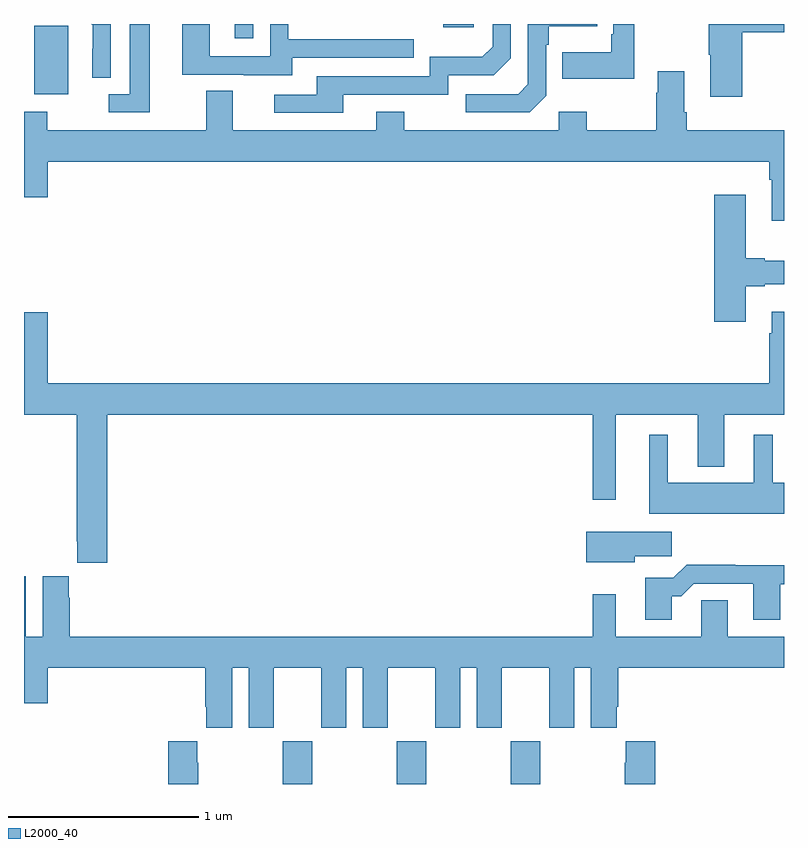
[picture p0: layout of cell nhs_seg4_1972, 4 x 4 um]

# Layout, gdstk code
import gdstk
lib = gdstk.Library(unit=1e-6, precision=1e-09)
def R(c, l, rs):  # rectangles x0, y0, x1, y1
    for r in rs: c.add(gdstk.rectangle(r[:2], r[2:], *l))
def A(c, l, x, y, w, h, nx, ny, dx, dy):  # array of equal rectangles
    R(c, l, [(x+i*dx, y+j*dy, x+i*dx+w, y+j*dy+h) for i in range(nx) for j in range(ny)])
def P(c, l, *ps):  # polygons
    for p in ps: c.add(gdstk.Polygon(p, *l))
L2000_40 = (2000, 40)

nhs_seg4_1972 = lib.new_cell('nhs_seg4_1972')
A(nhs_seg4_1972, L2000_40, 214.363, 770.9, 0.155, 0.224, 3, 1, 0.6, 0)
R(nhs_seg4_1972, L2000_40, [(213.053,774.53,213.232,774.891), (214.109,774.825,214.206,774.9), (215.207,774.884,215.368,774.9)])
P(nhs_seg4_1972, L2000_40, [(214.411,774.723),(215.051,774.723),(215.051,774.819),(214.392,774.819),(214.392,774.9),(214.296,774.9),(214.296,774.729),(213.978,774.729),(213.978,774.9),(213.833,774.9),(213.833,774.633),(214.157,774.633),(214.157,774.629),(214.411,774.629)],
  [(216.211,774.9),(216.102,774.9),(216.102,774.847),(216.09,774.847),(216.09,774.751),(215.833,774.751),(215.833,774.611),(216.211,774.611)],
  [(213.661,774.9),(213.557,774.9),(213.557,774.531),(213.447,774.531),(213.447,774.435),(213.661,774.435)],
  [(213.456,774.9),(213.355,774.9),(213.362,774.893),(213.362,774.77),(213.36,774.77),(213.36,774.616),(213.456,774.616)],
  [(215.748,774.522),(215.748,774.791),(215.761,774.791),(215.761,774.887),(216.017,774.887),(216.017,774.9),(215.652,774.9),(215.652,774.582),(215.601,774.531),(215.325,774.531),(215.325,774.435),(215.661,774.435)],
  [(216.779,774.856),(217,774.856),(217,774.9),(216.604,774.9),(216.604,774.739),(216.611,774.739),(216.611,774.516),(216.779,774.516)],
  [(214.681,774.528),(215.232,774.528),(215.232,774.63),(215.472,774.63),(215.562,774.72),(215.562,774.9),(215.466,774.9),(215.466,774.78),(215.413,774.727),(215.136,774.727),(215.136,774.624),(214.541,774.624),(214.541,774.528),(214.317,774.528),(214.317,774.432),(214.681,774.432)],
  [(217,774.34),(216.488,774.34),(216.488,774.436),(216.475,774.436),(216.475,774.652),(216.335,774.652),(216.335,774.539),(216.328,774.539),(216.328,774.34),(215.961,774.34),(215.961,774.439),(215.814,774.439),(215.814,774.34),(215.001,774.34),(215.001,774.439),(214.853,774.439),(214.853,774.34),(214.099,774.34),(214.099,774.548),(213.959,774.548),(213.959,774.34),(213.123,774.34),(213.123,774.439),(213,774.439),(213,773.988),(213.124,773.988),(213.124,774.176),(216.923,774.176),(216.923,774.08),(216.935,774.08),(216.935,773.865),(217,773.865)],
  [(216.799,773.519),(216.899,773.519),(216.899,773.531),(217,773.531),(217,773.653),(216.899,773.653),(216.899,773.666),(216.799,773.666),(216.799,774.001),(216.632,774.001),(216.632,773.334),(216.799,773.334)],
  [(213.124,773.383),(213,773.383),(213,772.844),(213.277,772.844),(213.277,772.177),(213.281,772.177),(213.281,772.065),(213.437,772.065),(213.437,772.844),(215.994,772.844),(215.994,772.395),(216.115,772.395),(216.115,772.844),(216.545,772.844),(216.545,772.571),(216.685,772.571),(216.685,772.844),(217,772.844),(217,773.386),(216.935,773.386),(216.935,773.273),(216.923,773.273),(216.923,773.008),(213.124,773.008)],
  [(217,772.486),(216.94,772.486),(216.94,772.738),(216.842,772.738),(216.842,772.486),(216.388,772.486),(216.388,772.738),(216.29,772.738),(216.29,772.322),(217,772.322)],
  [(216.214,772.099),(216.409,772.099),(216.409,772.228),(215.96,772.228),(215.96,772.067),(216.214,772.067)],
  [(216.409,771.887),(216.458,771.887),(216.525,771.954),(216.839,771.954),(216.839,771.765),(216.979,771.765),(216.979,771.951),(217,771.951),(217,772.052),(216.743,772.052),(216.743,772.055),(216.488,772.055),(216.418,771.985),(216.269,771.985),(216.269,771.765),(216.409,771.765)],
  [(214.096,771.512),(214.184,771.512),(214.184,771.195),(214.315,771.195),(214.315,771.512),(214.565,771.512),(214.565,771.195),(214.696,771.195),(214.696,771.512),(214.784,771.512),(214.784,771.195),(214.915,771.195),(214.915,771.512),(215.165,771.512),(215.165,771.195),(215.296,771.195),(215.296,771.512),(215.384,771.512),(215.384,771.195),(215.515,771.195),(215.515,771.512),(215.765,771.512),(215.765,771.195),(215.896,771.195),(215.896,771.512),(215.984,771.512),(215.984,771.195),(216.121,771.195),(216.121,771.307),(216.128,771.307),(216.128,771.512),(217,771.512),(217,771.676),(216.703,771.676),(216.703,771.866),(216.564,771.866),(216.564,771.676),(216.115,771.676),(216.115,771.898),(215.994,771.898),(215.994,771.676),(213.242,771.676),(213.242,771.881),(213.235,771.881),(213.235,771.994),(213.098,771.994),(213.098,771.676),(213.01,771.676),(213.01,771.994),(213,771.994),(213,771.324),(213.124,771.324),(213.124,771.512),(213.953,771.512),(213.953,771.307),(213.959,771.307),(213.959,771.195),(214.096,771.195)],
  [(216.323,771.124),(216.167,771.124),(216.167,771.011),(216.163,771.011),(216.163,770.9),(216.323,770.9)],
  [(213.758,771.124),(213.758,770.9),(213.918,770.9),(213.918,771.011),(213.913,771.011),(213.913,771.124)])

lib.write_gds('nhs_seg4_1972.gds')
